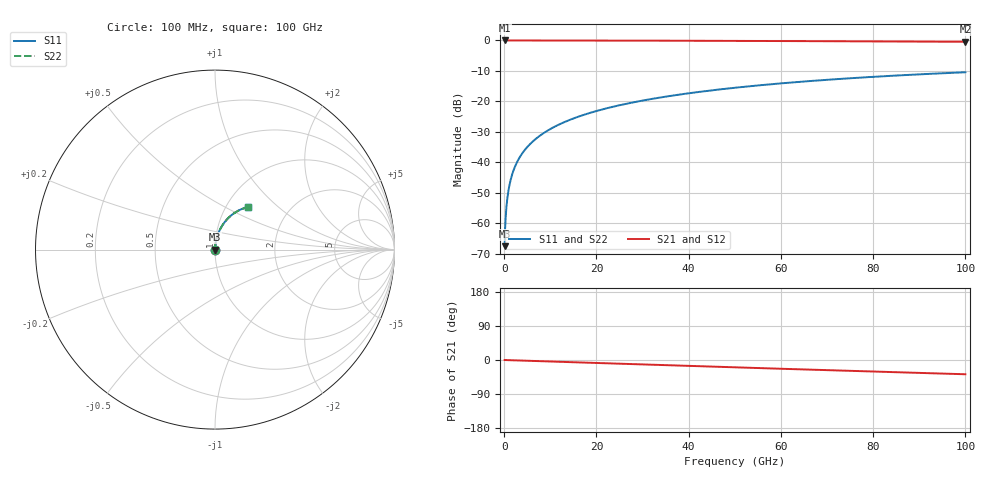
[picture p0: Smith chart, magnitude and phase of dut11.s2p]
! Touchstone file exported from HFSS 2026.1.0
!  File:  C:/ffzhzh/LocalFiles/Ansys_Project_Files/temp_train_TSV_11_1783504236_31944.aedt
!  Generated:  05:52:07 PM Jul  8, 2026
!  Design:  TSV
!  Project:  temp_train_TSV_11_1783504236_31944
! Variables:
!  h_bsmrdl = 2um
!  h_ox = 20um
!  h_rdl = 5um
!  h_sub = 58.74um
!  h_tmrdl = 5um
!  h_tsv = 58.74um
!  h_via = 3um
!  l_bsmrdl = 300um
!  l_sub = 413.58um
!  l_tmrdl = 200um
!  m_sub = 200um
!  pitch = 58.93um
!  r_tsv = 6.79um
!  s_tmrdl = 10um
!  w_bsmrdl = 18um
!  w_sub = 500um
!  w_tmrdl = 12um
!  x_tsv_center1 = 206um
!  x_tsv_center2 = 524um
!  x_tsv_center3 = 736um
!  x_tsv_center4 = 1054um
!  x_tsv_center5 = 1266um
!  x_tsv_center6 = 1584um
# GHz S MA R 50.000000
! Terminal data exported
! Port[1] = TSV1_1_T1
! Port[2] = TSV1_1_T2
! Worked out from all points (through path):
!   1000 points, 100 MHz to 100 GHz, reference 50 ohm
!   highest |S21| = 0.00 dB at 100 MHz (marker M1); lowest = -0.4 dB at 100 GHz (marker M2)
!   group delay of S21, straight-line fit = 1.05 ps
!   lowest |S11| = -67.5 dB at 100 MHz (marker M3), VSWR 1.00, Z = 50 + j0.0383 ohm
!   |S11| at or under -10 dB: start of sweep to end of sweep
!   |S22| runs from -67.5 to -10.4 dB; largest |S21 - S12| = 2.1e-15
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0.1  0.0004234 64.8  0.9998 -0.0  0.9998 -0.0  0.0004234 64.8
! Gamma 0 0 0 0
! Port Impedance 50 0 50 0
0.3  0.001149 79.7  0.9998 -0.1  0.9998 -0.1  0.001149 79.7
0.7  0.002605 84.4  0.9998 -0.3  0.9998 -0.3  0.002605 84.4
0.8  0.002969 84.9  0.9997 -0.3  0.9997 -0.3  0.002969 84.9
1  0.003696 85.4  0.9997 -0.4  0.9997 -0.4  0.003696 85.4
1.3  0.004783 85.9  0.9997 -0.5  0.9997 -0.5  0.004783 85.9
1.7  0.006223 86.1  0.9996 -0.7  0.9996 -0.7  0.006223 86.1
2.3  0.008363 86.3  0.9996 -0.9  0.9996 -0.9  0.008363 86.3
2.9  0.01049 86.3  0.9995 -1.2  0.9995 -1.2  0.01049 86.3
3.7  0.0133 86.2  0.9994 -1.5  0.9994 -1.5  0.0133 86.2
4.7  0.0168 86.0  0.9992 -1.9  0.9992 -1.9  0.0168 86.0
5.8  0.02064 85.8  0.9991 -2.3  0.9991 -2.3  0.02064 85.8
8.7  0.03074 85.0  0.9987 -3.4  0.9987 -3.4  0.03074 85.0
12.3  0.04322 83.8  0.9981 -4.8  0.9981 -4.8  0.04322 83.8
16.8  0.05869 82.3  0.9971 -6.6  0.9971 -6.6  0.05869 82.3
24.2  0.08386 79.6  0.9951 -9.5  0.9951 -9.5  0.08386 79.6
33.4  0.1145 76.2  0.9918 -13.0  0.9918 -13.0  0.1145 76.2
41.2  0.1399 73.3  0.9884 -16.0  0.9884 -16.0  0.1399 73.3
50.1  0.1679 70.0  0.9838 -19.4  0.9838 -19.4  0.1679 70.0
66.7  0.217 63.9  0.9739 -25.6  0.9739 -25.6  0.217 63.8
83.4  0.2618 57.8  0.9626 -31.7  0.9626 -31.7  0.2618 57.8
100  0.3011 52.0  0.9509 -37.6  0.9509 -37.6  0.3011 51.9
